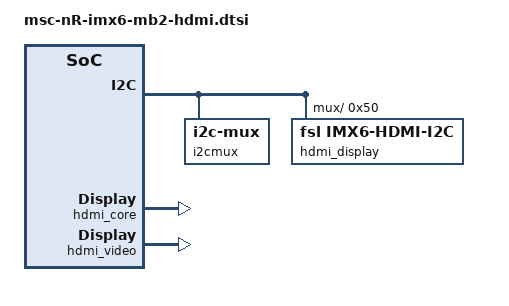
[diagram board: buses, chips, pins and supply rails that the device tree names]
/*
 * Copyright 2011 Freescale Semiconductor, Inc.
 * Copyright 2011 Linaro Ltd.
 *
 * The code contained herein is licensed under the GNU General Public
 * License. You may obtain a copy of the GNU General Public License
 * Version 2 or later at the following locations:
 *
 * http://www.opensource.org/licenses/gpl-license.html
 * http://www.gnu.org/copyleft/gpl.html
 */

/ {
	soc {
		aips-bus@02100000 { /* AIPS2 */
			i2cmux {
				i2c2@1 {
					hdmi_display {
						compatible = "fsl,imx6-hdmi-i2c";
						reg = <0x50>;
					};
				};
			};
		};
	};

	mxcfb1: fb@0 {
		compatible = "fsl,mxc_sdc_fb";
		disp_dev = "hdmi";
		interface_pix_fmt = "RGB24";
		mode_str ="1920x1080M-24@50";
		default_bpp = <24>;
		int_clk = <0>;
		late_init = <0>;
		status = "okay";
	};
};

&hdmi_core {
	ipu_id = <0>;
	disp_id = <0>;
	status = "okay";
};

&hdmi_video {
	fsl,phy_reg_vlev = <0x0294>;
	fsl,phy_reg_cksymtx = <0x800d>;
	status = "okay";
};
